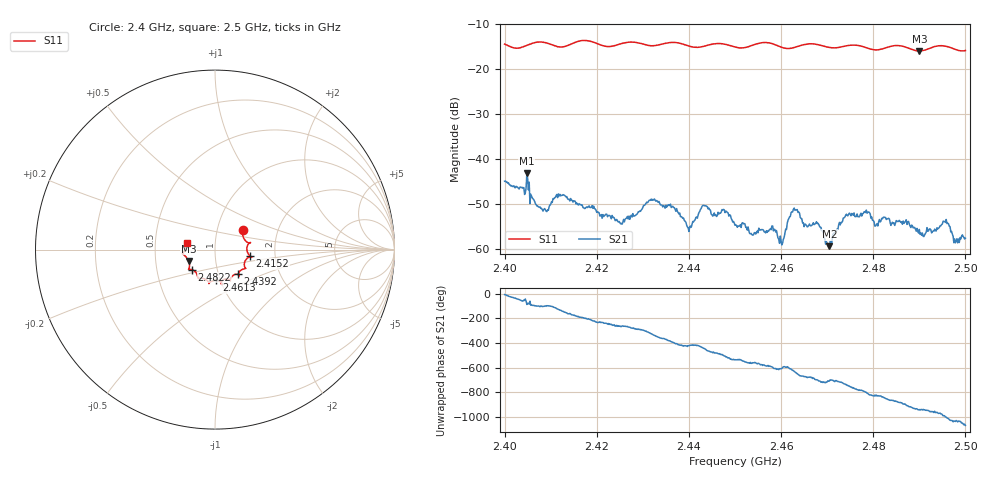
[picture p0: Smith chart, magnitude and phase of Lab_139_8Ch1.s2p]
# Hz S RI R
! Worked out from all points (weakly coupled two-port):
!   601 points, 2.4 GHz to 2.5 GHz, reference 50 ohm
!   highest |S21| = -43.16 dB at 2.4048 GHz (marker M1); lowest = -59.4 dB at 2.4705 GHz (marker M2)
!   lowest |S11| = -15.9 dB at 2.49 GHz (marker M3), VSWR 1.38, Z = 36.9 - j4.84 ohm
!   |S11| at or under -10 dB: start of sweep to end of sweep
!   S12 and S22 are empty: the file has one direction only
!   S11 on the Smith chart (normalised r, x): 2.4 GHz: 1.33, +0.31; 2.4152 GHz: 1.48, -0.11; 2.4392 GHz: 1.24, -0.35; 2.4613 GHz: 0.96, -0.34; 2.4822 GHz: 0.76, -0.17; 2.5 GHz: 0.72, +0.05
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2.4e9  0.1556 0.1107  0.00561 -0.000776  0 0  0 0
2.404833e9  0.1807 0.0404  0.00022 -0.00695  0 0  0 0
2.408667e9  0.1954 0.0394  -0.000582 -0.00274  0 0  0 0
2.4115e9  0.1782 0.0138  -0.00217 -0.00302  0 0  0 0
2.415167e9  0.195 -0.036  -0.0034 -0.000277  0 0  0 0
2.416667e9  0.2046 -0.042  -0.00296 0.000744  0 0  0 0
2.425167e9  0.1659 -0.0975  -8.04e-05 0.0019  0 0  0 0
2.433333e9  0.1321 -0.132  0.00326 0.000391  0 0  0 0
2.439167e9  0.1271 -0.138  0.000951 -0.00179  0 0  0 0
2.4435e9  0.0879 -0.1594  6.54e-05 -0.00301  0 0  0 0
2.45e9  0.0687 -0.1637  -0.00182 -0.000149  0 0  0 0
2.46e9  0.0246 -0.1753  -0.000458 0.00112  0 0  0 0
2.461333e9  0.00704 -0.1706  -0.00118 0.00152  0 0  0 0
2.463e9  -0.0169 -0.1752  0.000197 0.00268  0 0  0 0
2.466667e9  -0.0335 -0.1895  0.00138 0.00121  0 0  0 0
2.4705e9  -0.0477 -0.1687  0.00104 0.000236  0 0  0 0
2.4745e9  -0.0892 -0.1611  0.00213 -0.000938  0 0  0 0
2.482167e9  -0.1281 -0.1119  -0.00111 -0.00194  0 0  0 0
2.483333e9  -0.1394 -0.1104  -0.00166 -0.00143  0 0  0 0
2.49e9  -0.1467 -0.0639  -0.00128 0.00102  0 0  0 0
2.495667e9  -0.18 -0.0194  0.000323 0.00194  0 0  0 0
2.5e9  -0.1585 0.034  0.00128 0.000284  0 0  0 0
